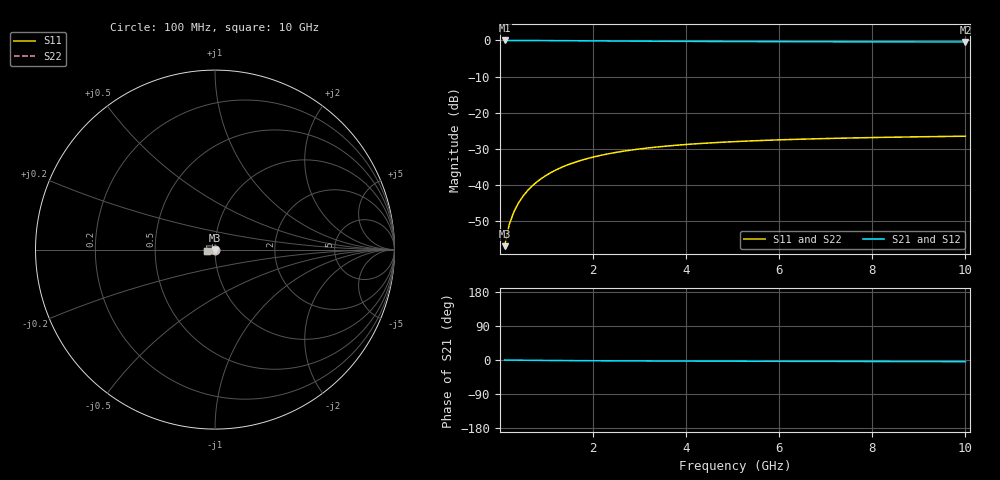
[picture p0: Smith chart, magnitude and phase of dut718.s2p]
! Touchstone file exported from HFSS 2024.1.0
!  File:  C:/UserFiles/LocalFiles/RDL_TSV_Batchsim/temp_TSV1_718_1779867958.aedt
!  Generated:  03:51:22 PM May 27, 2026
!  Design:  TSV1
!  Project:  temp_TSV1_718_1779867958
!  Setup:  Setup1
!  Solution:  Sweep
! Variables:
!  dtsv = 14.13um
!  hbump = 3um
!  htsv = 65.08um
!  lrdl = 252.1521522um
!  p = 40
!  p1 = 53.32um
!  t = 500um
!  trdl = 3um
!  wrdl = 24.89489489um
# GHz S MA R 50.000000
! Terminal data exported
! Port[1] = TSV22_T1
! Port[2] = TSV22_T2
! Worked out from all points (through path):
!   100 points, 100 MHz to 10 GHz, reference 50 ohm
!   highest |S21| = 0.00 dB at 100 MHz (marker M1); lowest = -0.4 dB at 10 GHz (marker M2)
!   lowest |S11| = -56.9 dB at 100 MHz (marker M3), VSWR 1.00, Z = 50 - j0.142 ohm
!   |S11| at or under -10 dB: start of sweep to end of sweep
!   |S22| runs from -56.9 to -26.5 dB; largest |S21 - S12| = 4.2e-15
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0.1  0.001422 -88.9  0.9999 -0.1  0.9999 -0.1  0.001422 -88.9
! Gamma 0 0 0 0
! Port Impedance 50 0 50 0
0.2  0.002843 -92.0  0.9997 -0.2  0.9997 -0.2  0.002843 -92.0
0.3  0.004262 -94.3  0.9995 -0.4  0.9995 -0.4  0.004262 -94.3
0.4  0.005671 -96.3  0.9991 -0.5  0.9991 -0.5  0.005671 -96.3
0.5  0.007067 -98.3  0.9987 -0.6  0.9987 -0.6  0.007067 -98.3
0.6  0.008442 -100.2  0.9982 -0.7  0.9982 -0.7  0.008442 -100.2
0.7  0.009793 -102.0  0.9977 -0.8  0.9977 -0.8  0.009793 -102.0
0.8  0.01112 -103.9  0.9971 -0.9  0.9971 -0.9  0.01112 -103.9
0.9  0.01241 -105.6  0.9964 -1.0  0.9964 -1.0  0.01241 -105.6
1.1  0.0149 -109.1  0.9949 -1.2  0.9949 -1.2  0.0149 -109.1
1.4  0.01837 -113.9  0.9923 -1.5  0.9923 -1.5  0.01837 -113.9
1.6  0.02049 -116.9  0.9905 -1.7  0.9905 -1.7  0.02049 -116.9
1.8  0.02247 -119.8  0.9887 -1.8  0.9887 -1.8  0.02247 -119.8
2.1  0.02515 -123.8  0.9859 -2.0  0.9859 -2.0  0.02515 -123.8
2.5  0.02826 -128.6  0.9823 -2.2  0.9823 -2.2  0.02826 -128.6
2.9  0.0309 -132.9  0.9789 -2.4  0.9789 -2.4  0.0309 -132.9
3.4  0.03366 -137.6  0.9751 -2.6  0.9751 -2.6  0.03366 -137.6
4.2  0.03709 -143.8  0.97 -2.9  0.97 -2.9  0.03709 -143.8
5.1  0.03994 -149.5  0.9655 -3.1  0.9655 -3.1  0.03994 -149.5
6.7  0.0434 -157.4  0.9597 -3.6  0.9597 -3.6  0.0434 -157.4
8.4  0.04577 -163.8  0.9556 -4.0  0.9556 -4.0  0.04577 -163.8
10  0.0473 -168.6  0.953 -4.4  0.953 -4.4  0.0473 -168.6
